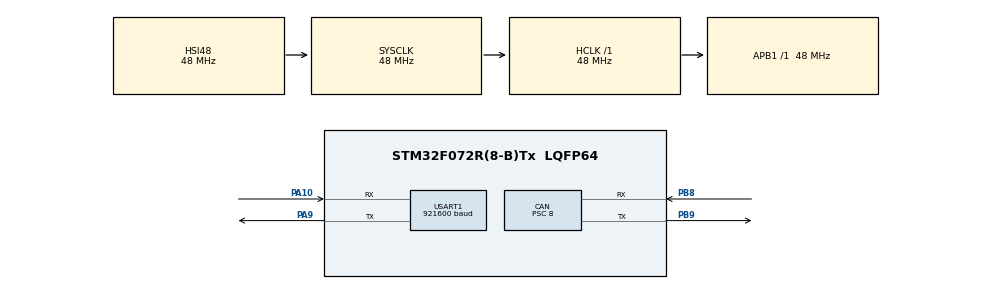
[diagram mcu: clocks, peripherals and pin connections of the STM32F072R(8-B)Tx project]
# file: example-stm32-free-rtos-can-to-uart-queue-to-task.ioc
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CAN.ABOM=DISABLE
CAN.AWUM=DISABLE
CAN.BS1=CAN_BS1_3TQ
CAN.BS2=CAN_BS2_8TQ
CAN.CalculateBaudRate=500000
CAN.CalculateTimeBit=2000
CAN.CalculateTimeQuantum=166.66666666666666
CAN.NART=DISABLE
CAN.Prescaler=8
CAN.SJW=CAN_SJW_1TQ
Dma.Request0=USART1_TX
Dma.USART1_TX.0.Direction=DMA_MEMORY_TO_PERIPH
Dma.USART1_TX.0.Instance=DMA1_Channel2
Dma.USART1_TX.0.MemDataAlignment=DMA_MDATAALIGN_BYTE
Dma.USART1_TX.0.MemInc=DMA_MINC_ENABLE
Dma.USART1_TX.0.Mode=DMA_NORMAL
Dma.USART1_TX.0.PeriphDataAlignment=DMA_PDATAALIGN_BYTE
Dma.USART1_TX.0.PeriphInc=DMA_PINC_DISABLE
Dma.USART1_TX.0.Priority=DMA_PRIORITY_VERY_HIGH
FREERTOS.Tasks01=ReceiveCanData,2,128,vReceiveCanData,Default,NULL,Dynamic,NULL,NULL
FREERTOS.configUSE_NEWLIB_REENTRANT=1
Mcu.Family=STM32F0
Mcu.Name=STM32F072R(8-B)Tx
Mcu.Package=LQFP64
NVIC.CEC_CAN_IRQn=true\:3\:0\:false\:false\:true\:true\:true\:true\:true
NVIC.DMA1_Channel2_3_IRQn=true\:3\:0\:false\:false\:true\:true\:true\:true\:true
NVIC.TIM6_DAC_IRQn=true\:3\:0\:false\:false\:true\:false\:false\:true\:true
NVIC.TimeBase=TIM6_DAC_IRQn
NVIC.TimeBaseIP=TIM6
NVIC.USART1_IRQn=true\:3\:0\:true\:false\:true\:true\:true\:true\:true
PA10.Mode=Asynchronous
PA10.Signal=USART1_RX
PA9.Mode=Asynchronous
PA9.Signal=USART1_TX
PB8.Mode=CAN_Activate
PB8.Signal=CAN_RX
PB9.Mode=CAN_Activate
PB9.Signal=CAN_TX
ProjectManager.HeapSize=0x200
ProjectManager.StackSize=0x400
ProjectManager.TargetToolchain=STM32CubeIDE
RCC.AHBFreq_Value=48000000
RCC.APB1Freq_Value=48000000
RCC.APB1TimFreq_Value=48000000
RCC.HCLKFreq_Value=48000000
RCC.PLLMUL=RCC_PLL_MUL8
RCC.SYSCLKFreq_VALUE=48000000
RCC.SYSCLKSource=RCC_SYSCLKSOURCE_HSI48
RCC.USBFreq_Value=48000000
USART1.BaudRate=921600
USART1.DMADisableonRxErrorParam=ADVFEATURE_DMA_DISABLEONRXERROR
USART1.OverrunDisableParam=ADVFEATURE_OVERRUN_DISABLE
USART1.VirtualMode-Asynchronous=VM_ASYNC
VP_FREERTOS_VS_CMSIS_V1.Mode=CMSIS_V1
VP_SYS_VS_tim6.Mode=TIM6
board=custom

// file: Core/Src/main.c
/* USER CODE BEGIN Header */
/**
  ******************************************************************************
  * @file           : main.c
  * @brief          : Main program body
  ******************************************************************************
  * @attention
  *
  * Copyright (c) 2022 STMicroelectronics.
  * All rights reserved.
  *
  * This software is licensed under terms that can be found in the LICENSE file
  * in the root directory of this software component.
  * If no LICENSE file comes with this software, it is provided AS-IS.
  *
  ******************************************************************************
  */
/* USER CODE END Header */
#include "main.h"
#include "cmsis_os.h"

CAN_HandleTypeDef hcan;

UART_HandleTypeDef huart1;
DMA_HandleTypeDef hdma_usart1_tx;

osThreadId ReceiveCanDataHandle;
/* USER CODE BEGIN PV */
/* Queue Handler Definition */
QueueHandle_t qFromCanIsrToTaskHandle;

/* Can RX definitions */
uint8_t ucCanRxData[8];
CAN_RxHeaderTypeDef RxHeader;

/* USER CODE END PV */

void SystemClock_Config(void);
static void MX_GPIO_Init(void);
static void MX_DMA_Init(void);
static void MX_CAN_Init(void);
static void MX_USART1_UART_Init(void);
void vReceiveCanData(void const * argument);

/* USER CODE BEGIN PFP */
void vCanSetup(CAN_HandleTypeDef *hcan);
/* USER CODE END PFP */

/* USER CODE BEGIN 0 */
static uint64_t UartTxCount;
static uint64_t CanRxCount;
static uint8_t CanMsgReceived;
uint8_t CanTxBuffer[16] = {0};
/* USER CODE END 0 */

int main(void)
{

  /* MCU Configuration--------------------------------------------------------*/

  /* Reset of all peripherals, Initializes the Flash interface and the Systick. */
  HAL_Init();

  /* Configure the system clock */
  SystemClock_Config();

  /* Initialize all configured peripherals */
  MX_GPIO_Init();
  MX_DMA_Init();
  MX_CAN_Init();
  MX_USART1_UART_Init();
  /* USER CODE BEGIN 2 */
  // Can sleep mode request
  HAL_CAN_RequestSleep(&hcan);
  //Can bus set-up
  vCanSetup(&hcan);
  /* USER CODE END 2 */

  /* USER CODE BEGIN RTOS_QUEUES */
  /* add queues, ... */
  qFromCanIsrToTaskHandle = xQueueCreate(10, sizeof(CanTxBuffer));
  /* USER CODE END RTOS_QUEUES */

  /* Create the thread(s) */
  /* definition and creation of ReceiveCanData */
  osThreadDef(ReceiveCanData, vReceiveCanData, osPriorityHigh, 0, 128);
  ReceiveCanDataHandle = osThreadCreate(osThread(ReceiveCanData), NULL);

  /* Start scheduler */
  osKernelStart();

  /* We should never get here as control is now taken by the scheduler */
  /* Infinite loop */
  while (1)
  {

  }
}

void SystemClock_Config(void)
{
  RCC_OscInitTypeDef RCC_OscInitStruct = {0};
  RCC_ClkInitTypeDef RCC_ClkInitStruct = {0};
  RCC_PeriphCLKInitTypeDef PeriphClkInit = {0};

  /** Initializes the RCC Oscillators according to the specified parameters
  * in the RCC_OscInitTypeDef structure.
  */
  RCC_OscInitStruct.OscillatorType = RCC_OSCILLATORTYPE_HSI48;
  RCC_OscInitStruct.HSI48State = RCC_HSI48_ON;
  RCC_OscInitStruct.PLL.PLLState = RCC_PLL_NONE;
  if (HAL_RCC_OscConfig(&RCC_OscInitStruct) != HAL_OK)
  {
    Error_Handler();
  }

  /** Initializes the CPU, AHB and APB buses clocks
  */
  RCC_ClkInitStruct.ClockType = RCC_CLOCKTYPE_HCLK|RCC_CLOCKTYPE_SYSCLK
                              |RCC_CLOCKTYPE_PCLK1;
  RCC_ClkInitStruct.SYSCLKSource = RCC_SYSCLKSOURCE_HSI48;
  RCC_ClkInitStruct.AHBCLKDivider = RCC_SYSCLK_DIV1;
  RCC_ClkInitStruct.APB1CLKDivider = RCC_HCLK_DIV1;

  if (HAL_RCC_ClockConfig(&RCC_ClkInitStruct, FLASH_LATENCY_1) != HAL_OK)
  {
    Error_Handler();
  }
  PeriphClkInit.PeriphClockSelection = RCC_PERIPHCLK_USART1;
  PeriphClkInit.Usart1ClockSelection = RCC_USART1CLKSOURCE_PCLK1;
  if (HAL_RCCEx_PeriphCLKConfig(&PeriphClkInit) != HAL_OK)
  {
    Error_Handler();
  }
}

static void MX_CAN_Init(void)
{

  hcan.Instance = CAN;
  hcan.Init.Prescaler = 8;
  hcan.Init.Mode = CAN_MODE_NORMAL;
  hcan.Init.SyncJumpWidth = CAN_SJW_1TQ;
  hcan.Init.TimeSeg1 = CAN_BS1_3TQ;
  hcan.Init.TimeSeg2 = CAN_BS2_8TQ;
  hcan.Init.TimeTriggeredMode = DISABLE;
  hcan.Init.AutoBusOff = DISABLE;
  hcan.Init.AutoWakeUp = DISABLE;
  hcan.Init.AutoRetransmission = DISABLE;
  hcan.Init.ReceiveFifoLocked = DISABLE;
  hcan.Init.TransmitFifoPriority = DISABLE;
  if (HAL_CAN_Init(&hcan) != HAL_OK)
  {
    Error_Handler();
  }

}

static void MX_USART1_UART_Init(void)
{

  huart1.Instance = USART1;
  huart1.Init.BaudRate = 921600;
  huart1.Init.WordLength = UART_WORDLENGTH_8B;
  huart1.Init.StopBits = UART_STOPBITS_1;
  huart1.Init.Parity = UART_PARITY_NONE;
  huart1.Init.Mode = UART_MODE_TX_RX;
  huart1.Init.HwFlowCtl = UART_HWCONTROL_NONE;
  huart1.Init.OverSampling = UART_OVERSAMPLING_16;
  huart1.Init.OneBitSampling = UART_ONE_BIT_SAMPLE_DISABLE;
  huart1.AdvancedInit.AdvFeatureInit = UART_ADVFEATURE_RXOVERRUNDISABLE_INIT|UART_ADVFEATURE_DMADISABLEONERROR_INIT;
  huart1.AdvancedInit.OverrunDisable = UART_ADVFEATURE_OVERRUN_DISABLE;
  huart1.AdvancedInit.DMADisableonRxError = UART_ADVFEATURE_DMA_DISABLEONRXERROR;
  if (HAL_UART_Init(&huart1) != HAL_OK)
  {
    Error_Handler();
  }

}

static void MX_DMA_Init(void)
{

  /* DMA controller clock enable */
  __HAL_RCC_DMA1_CLK_ENABLE();

  /* DMA interrupt init */
  /* DMA1_Channel2_3_IRQn interrupt configuration */
  HAL_NVIC_SetPriority(DMA1_Channel2_3_IRQn, 3, 0);
  HAL_NVIC_EnableIRQ(DMA1_Channel2_3_IRQn);

}

static void MX_GPIO_Init(void)
{

  /* GPIO Ports Clock Enable */
  __HAL_RCC_GPIOA_CLK_ENABLE();
  __HAL_RCC_GPIOB_CLK_ENABLE();

}

/* USER CODE BEGIN 4 */

void vCanSetup(CAN_HandleTypeDef *hcan)
{
  CAN_FilterTypeDef sFilterConfig;

  /*##-2- Configure the CAN Filter ###########################################*/
  sFilterConfig.FilterBank = 0;
  sFilterConfig.FilterMode = CAN_FILTERMODE_IDMASK;
  sFilterConfig.FilterScale = CAN_FILTERSCALE_32BIT;
  sFilterConfig.FilterIdHigh = 0x0000;
  sFilterConfig.FilterIdLow = 0x0000;
  sFilterConfig.FilterMaskIdHigh = 0x0000;
  sFilterConfig.FilterMaskIdLow = 0x0000;
  sFilterConfig.FilterFIFOAssignment = CAN_RX_FIFO0;
  sFilterConfig.FilterActivation = ENABLE;
  sFilterConfig.SlaveStartFilterBank = 10;
  if (HAL_CAN_ConfigFilter(hcan, &sFilterConfig) != HAL_OK)
  {
	  /* Filter configuration Error */
	  Error_Handler();
  }

  /*##-3- Start the CAN peripheral ###########################################*/
  if (HAL_CAN_Start(hcan) != HAL_OK)
  {
	  /* Start Error */
	  Error_Handler();
  }

  /*##-4- Activate CAN RX notification #######################################*/
  if (HAL_CAN_ActivateNotification(hcan, CAN_IT_RX_FIFO0_MSG_PENDING) != HAL_OK)
  {
	  /* Notification Error */
	  Error_Handler();
  }
}

void HAL_UART_TxCpltCallback(UART_HandleTypeDef *huart)
{
  if (huart->Instance == huart1.Instance)
  {
    UartTxCount++;
  }
}

void HAL_CAN_RxFifo0MsgPendingCallback(CAN_HandleTypeDef *hcan)
{
  BaseType_t xHigherPriorityTaskWoken;

  // Allocate memory for the can message structure
  //CAN_Msg_st *stCanMsgFromIsrTX = osPoolCAlloc(mPoolCanMsgQueue1);

  // No. of CAN MSG received count
  CanRxCount++;

  // Read can message
  HAL_CAN_GetRxMessage(hcan, CAN_RX_FIFO0, &RxHeader, ucCanRxData);

  CanTxBuffer[0]  = '$';
  CanTxBuffer[1]  = RxHeader.StdId >> 8;
  CanTxBuffer[2]  = RxHeader.StdId;
  CanTxBuffer[3]  = '_';
  CanTxBuffer[4]  = RxHeader.DLC;
  CanTxBuffer[5]  = '_';
  CanTxBuffer[6]  = ucCanRxData[0];
  CanTxBuffer[7]  = ucCanRxData[1];
  CanTxBuffer[8]  = ucCanRxData[2];
  CanTxBuffer[9]  = ucCanRxData[3];
  CanTxBuffer[10]  = ucCanRxData[4];
  CanTxBuffer[11]  = ucCanRxData[5];
  CanTxBuffer[12] = ucCanRxData[6];
  CanTxBuffer[13] = ucCanRxData[7];
  CanTxBuffer[14] = '#';

  // queue status
  CanMsgReceived = 1;

  // Queue 1 transmission
  if(qFromCanIsrToTaskHandle != 0)
  {
    if(xQueueSendToBackFromISR(qFromCanIsrToTaskHandle, (void *)&CanTxBuffer, &xHigherPriorityTaskWoken) == pdTRUE)
    {
      portYIELD_FROM_ISR(xHigherPriorityTaskWoken);
    }
  }
}
/* USER CODE END 4 */

void vReceiveCanData(void const * argument)
{
  /* USER CODE BEGIN 5 */

  // Wake up the CAN
  HAL_CAN_WakeUp(&hcan);

  /* Infinite loop */
  for(;;)
  {
    if(CanMsgReceived==1 && HAL_UART_STATE_READY == huart1.gState)
    {
      CanMsgReceived=0;
      if(xQueueReceive(qFromCanIsrToTaskHandle, (void *)&CanTxBuffer, (TickType_t)0) == pdPASS)
      {
        if(HAL_UART_Transmit_DMA(&huart1, (uint8_t *)CanTxBuffer, sizeof(CanTxBuffer)) != HAL_OK)
        {
          Error_Handler();
        }
      }
    }
  }
  /* USER CODE END 5 */
}

void HAL_TIM_PeriodElapsedCallback(TIM_HandleTypeDef *htim)
{
  if (htim->Instance == TIM6) {
    HAL_IncTick();
  }
}

void Error_Handler(void)
{
  __disable_irq();
  while (1)
  {
  }
}
